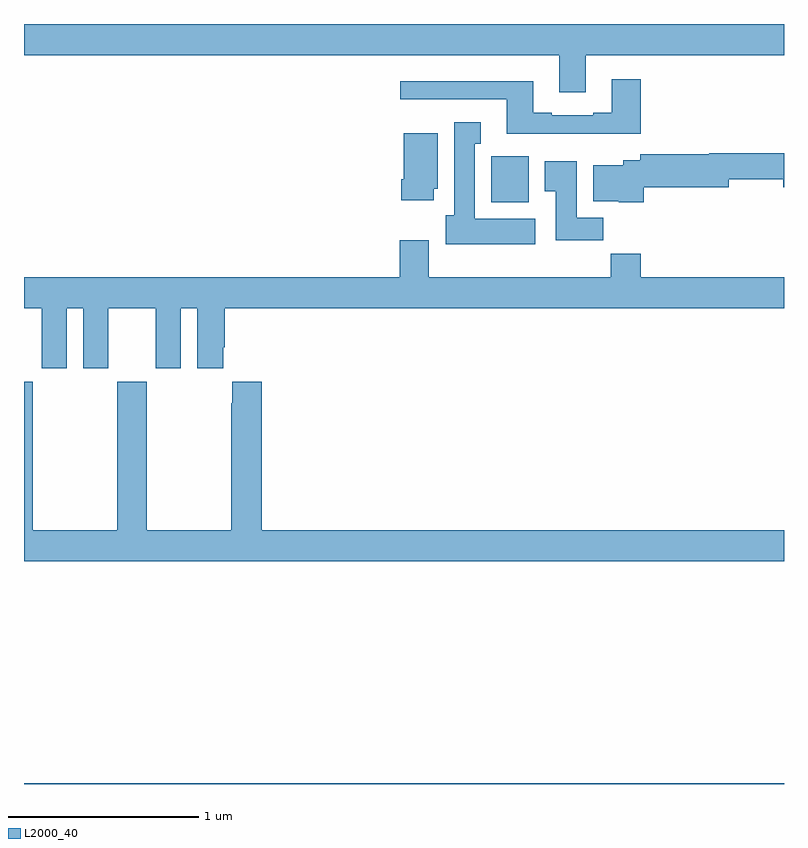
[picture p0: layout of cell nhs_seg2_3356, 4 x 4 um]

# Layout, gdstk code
import gdstk
lib = gdstk.Library(unit=1e-6, precision=1e-09)
def R(c, l, rs):  # rectangles x0, y0, x1, y1
    for r in rs: c.add(gdstk.rectangle(r[:2], r[2:], *l))
def P(c, l, *ps):  # polygons
    for p in ps: c.add(gdstk.Polygon(p, *l))
L2000_40 = (2000, 40)

nhs_seg2_3356 = lib.new_cell('nhs_seg2_3356')
R(nhs_seg2_3356, L2000_40, [(287,643.8,291,643.804), (289.46,646.862,289.657,647.104)])
P(nhs_seg2_3356, L2000_40, [(289.957,647.636),(291,647.636),(291,647.8),(287,647.8),(287,647.636),(289.817,647.636),(289.817,647.442),(289.957,647.442)],
  [(290.246,647.509),(290.093,647.509),(290.093,647.332),(289.997,647.332),(289.997,647.319),(289.777,647.319),(289.777,647.332),(289.681,647.332),(289.681,647.5),(288.981,647.5),(288.981,647.403),(289.541,647.403),(289.541,647.222),(290.246,647.222)],
  [(289.69,646.774),(289.372,646.774),(289.372,647.171),(289.405,647.171),(289.405,647.284),(289.265,647.284),(289.265,646.794),(289.22,646.794),(289.22,646.64),(289.69,646.64)],
  [(289.156,646.932),(289.177,646.932),(289.177,647.224),(288.998,647.224),(288.998,646.984),(288.986,646.984),(288.986,646.872),(289.156,646.872)],
  [(290.261,646.942),(290.71,646.942),(290.71,646.984),(290.996,646.984),(290.996,646.942),(291,646.942),(291,647.12),(290.606,647.12),(290.606,647.114),(290.244,647.114),(290.244,647.083),(290.154,647.083),(290.154,647.056),(289.997,647.056),(289.997,646.868),(290.13,646.868),(290.13,646.862),(290.261,646.862)],
  [(290.048,646.78),(289.909,646.78),(289.909,647.077),(289.742,647.077),(289.742,646.921),(289.799,646.921),(289.799,646.662),(290.048,646.662)],
  [(287.224,646.304),(287.312,646.304),(287.312,645.987),(287.443,645.987),(287.443,646.304),(287.693,646.304),(287.693,645.987),(287.824,645.987),(287.824,646.304),(287.912,646.304),(287.912,645.987),(288.049,645.987),(288.049,646.099),(288.056,646.099),(288.056,646.304),(291,646.304),(291,646.468),(290.246,646.468),(290.246,646.592),(290.089,646.592),(290.089,646.468),(289.129,646.468),(289.129,646.663),(288.977,646.663),(288.977,646.468),(287,646.468),(287,646.304),(287.093,646.304),(287.093,645.987),(287.224,645.987)],
  [(291,645.136),(288.251,645.136),(288.251,645.916),(288.095,645.916),(288.095,645.803),(288.091,645.803),(288.091,645.136),(287.646,645.136),(287.646,645.916),(287.491,645.916),(287.491,645.136),(287.046,645.136),(287.046,645.916),(287,645.916),(287,644.972),(291,644.972)])

lib.write_gds('nhs_seg2_3356.gds')
